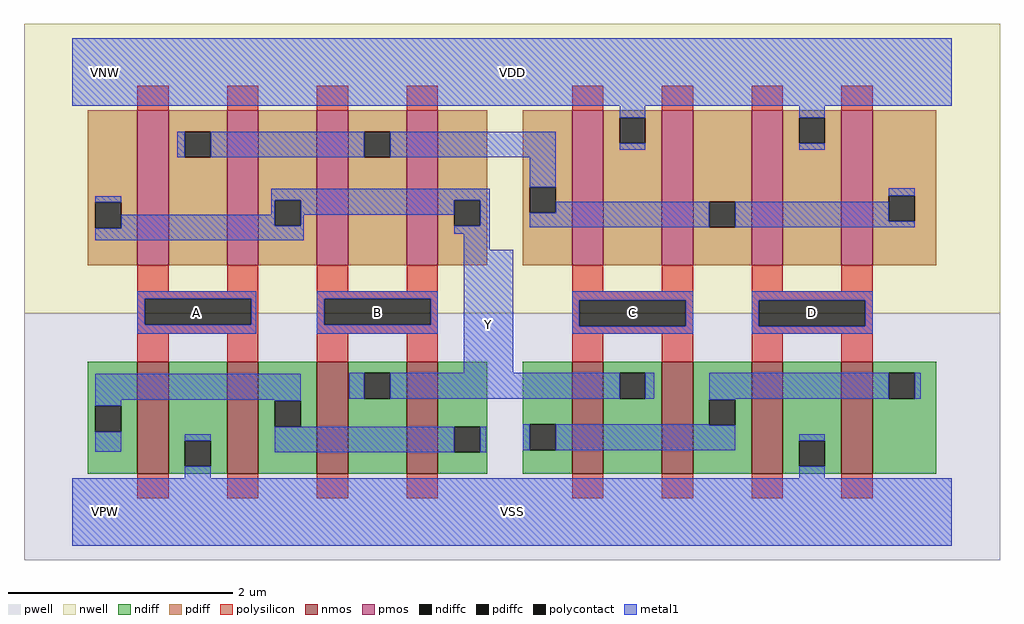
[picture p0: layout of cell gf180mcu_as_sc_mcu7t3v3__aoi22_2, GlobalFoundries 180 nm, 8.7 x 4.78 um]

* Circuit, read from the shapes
.subckt gf180mcu_as_sc_mcu7t3v3__aoi22_2 VDD VNW VPW VSS Y A B C D
XM1 VSS A n1 VPW nfet_03v3 w=1u l=0.28u m=2
XM2 Y B n1 VPW nfet_03v3 w=1u l=0.28u m=2
XM3 Y C n2 VPW nfet_03v3 w=1u l=0.28u m=2
XM4 VSS D n2 VPW nfet_03v3 w=1u l=0.28u m=2
XM5 n3 A Y VNW pfet_03v3 w=1.38u l=0.28u m=2
XM6 n3 B Y VNW pfet_03v3 w=1.38u l=0.28u m=2
XM7 VDD C n3 VNW pfet_03v3 w=1.38u l=0.28u m=2
XM8 VDD D n3 VNW pfet_03v3 w=1.38u l=0.28u m=2
.ends

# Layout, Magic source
magic
tech gf180mcuD
magscale 1 10
<< nwell >>
rect -86 354 1654 870
<< pwell >>
rect -86 -86 1654 354
<< nmos >>
rect 116 68 172 268
rect 276 68 332 268
rect 436 68 492 268
rect 596 68 652 268
rect 891 68 947 268
rect 1051 68 1107 268
rect 1211 68 1267 268
rect 1371 68 1427 268
<< pmos >>
rect 116 440 172 716
rect 276 440 332 716
rect 436 440 492 716
rect 596 440 652 716
rect 891 440 947 716
rect 1051 440 1107 716
rect 1211 440 1267 716
rect 1371 440 1427 716
<< ndiff >>
rect 28 189 116 268
rect 28 143 41 189
rect 87 143 116 189
rect 28 68 116 143
rect 172 127 276 268
rect 172 81 201 127
rect 247 81 276 127
rect 172 68 276 81
rect 332 198 436 268
rect 332 152 361 198
rect 407 152 436 198
rect 332 68 436 152
rect 492 248 596 268
rect 492 202 521 248
rect 567 202 596 248
rect 492 68 596 202
rect 652 152 740 268
rect 652 106 681 152
rect 727 106 740 152
rect 652 68 740 106
rect 803 156 891 268
rect 803 110 816 156
rect 862 110 891 156
rect 803 68 891 110
rect 947 248 1051 268
rect 947 202 976 248
rect 1022 202 1051 248
rect 947 68 1051 202
rect 1107 200 1211 268
rect 1107 154 1136 200
rect 1182 154 1211 200
rect 1107 68 1211 154
rect 1267 127 1371 268
rect 1267 81 1296 127
rect 1342 81 1371 127
rect 1267 68 1371 81
rect 1427 248 1540 268
rect 1427 202 1456 248
rect 1502 202 1540 248
rect 1427 68 1540 202
<< pdiff >>
rect 28 552 116 716
rect 28 506 41 552
rect 87 506 116 552
rect 28 440 116 506
rect 172 678 276 716
rect 172 632 201 678
rect 247 632 276 678
rect 172 440 276 632
rect 332 556 436 716
rect 332 510 361 556
rect 407 510 436 556
rect 332 440 436 510
rect 492 678 596 716
rect 492 632 521 678
rect 567 632 596 678
rect 492 440 596 632
rect 652 556 740 716
rect 652 510 681 556
rect 727 510 740 556
rect 652 440 740 510
rect 803 579 891 716
rect 803 533 816 579
rect 862 533 891 579
rect 803 440 891 533
rect 947 703 1051 716
rect 947 657 976 703
rect 1022 657 1051 703
rect 947 440 1051 657
rect 1107 553 1211 716
rect 1107 507 1136 553
rect 1182 507 1211 553
rect 1107 440 1211 507
rect 1267 703 1371 716
rect 1267 657 1296 703
rect 1342 657 1371 703
rect 1267 440 1371 657
rect 1427 564 1540 716
rect 1427 518 1456 564
rect 1502 518 1540 564
rect 1427 440 1540 518
<< ndiffc >>
rect 41 143 87 189
rect 201 81 247 127
rect 361 152 407 198
rect 521 202 567 248
rect 681 106 727 152
rect 816 110 862 156
rect 976 202 1022 248
rect 1136 154 1182 200
rect 1296 81 1342 127
rect 1456 202 1502 248
<< pdiffc >>
rect 41 506 87 552
rect 201 632 247 678
rect 361 510 407 556
rect 521 632 567 678
rect 681 510 727 556
rect 816 533 862 579
rect 976 657 1022 703
rect 1136 507 1182 553
rect 1296 657 1342 703
rect 1456 518 1502 564
<< polysilicon >>
rect 116 716 172 760
rect 276 716 332 760
rect 436 716 492 760
rect 596 716 652 760
rect 891 716 947 760
rect 1051 716 1107 760
rect 1211 716 1267 760
rect 1371 716 1427 760
rect 116 393 172 440
rect 276 393 332 440
rect 116 380 332 393
rect 116 334 129 380
rect 319 334 332 380
rect 116 318 332 334
rect 116 268 172 318
rect 276 268 332 318
rect 436 393 492 440
rect 596 393 652 440
rect 436 380 652 393
rect 436 334 449 380
rect 639 334 652 380
rect 436 318 652 334
rect 436 268 492 318
rect 596 268 652 318
rect 891 393 947 440
rect 1051 393 1107 440
rect 891 377 1107 393
rect 891 331 904 377
rect 1094 331 1107 377
rect 891 318 1107 331
rect 891 268 947 318
rect 1051 268 1107 318
rect 1211 393 1267 440
rect 1371 393 1427 440
rect 1211 377 1427 393
rect 1211 331 1224 377
rect 1414 331 1427 377
rect 1211 318 1427 331
rect 1211 268 1267 318
rect 1371 268 1427 318
rect 116 24 172 68
rect 276 24 332 68
rect 436 24 492 68
rect 596 24 652 68
rect 891 24 947 68
rect 1051 24 1107 68
rect 1211 24 1267 68
rect 1371 24 1427 68
<< polycontact >>
rect 129 334 319 380
rect 449 334 639 380
rect 904 331 1094 377
rect 1224 331 1414 377
<< metal1 >>
rect 0 724 1568 844
rect 976 703 1022 724
rect 187 632 201 678
rect 247 632 521 678
rect 567 632 862 678
rect 976 646 1022 657
rect 1296 703 1342 724
rect 1296 646 1342 657
rect 816 579 862 632
rect 41 552 87 563
rect 355 556 744 576
rect 355 530 361 556
rect 87 510 361 530
rect 407 530 681 556
rect 407 510 413 530
rect 87 506 413 510
rect 41 484 413 506
rect 727 510 744 556
rect 681 496 744 510
rect 1456 564 1502 577
rect 862 533 1136 553
rect 816 507 1136 533
rect 1182 518 1456 553
rect 1182 507 1502 518
rect 698 467 744 496
rect 116 380 328 393
rect 116 334 129 380
rect 319 334 328 380
rect 116 318 328 334
rect 436 380 652 393
rect 436 334 449 380
rect 639 334 652 380
rect 436 318 652 334
rect 698 248 786 467
rect 891 377 1107 393
rect 891 331 904 377
rect 1094 331 1107 377
rect 891 318 1107 331
rect 1211 377 1427 393
rect 1211 331 1224 377
rect 1414 331 1427 377
rect 1211 318 1427 331
rect 41 200 407 246
rect 494 202 521 248
rect 567 202 976 248
rect 1022 202 1038 248
rect 1136 202 1456 248
rect 1502 202 1513 248
rect 41 189 87 200
rect 41 107 87 143
rect 361 198 407 200
rect 1136 200 1182 202
rect 201 127 247 138
rect 361 106 681 152
rect 727 106 738 152
rect 803 110 816 156
rect 862 154 1136 156
rect 862 110 1182 154
rect 1296 127 1342 138
rect 201 60 247 81
rect 1296 60 1342 81
rect 0 -60 1568 60
<< labels >>
flabel metal1 s 0 724 1568 844 0 FreeSans 400 0 0 0 VDD
port 1 nsew power bidirectional abutment
flabel metal1 s 0 -60 1568 60 0 FreeSans 400 0 0 0 VSS
port 4 nsew ground bidirectional abutment
flabel nwell s 10 734 110 834 0 FreeSans 400 0 0 0 VNW
port 2 nsew power bidirectional
flabel pwell s 10 -50 110 50 0 FreeSans 400 0 0 0 VPW
port 3 nsew ground bidirectional
flabel metal1 698 202 786 467 0 FreeSans 200 0 0 0 Y
port 5 nsew signal output
flabel metal1 116 318 328 393 0 FreeSans 200 0 0 0 A
port 6 nsew signal input
flabel metal1 436 318 652 393 0 FreeSans 200 0 0 0 B
port 7 nsew signal input
flabel metal1 891 318 1107 393 0 FreeSans 200 0 0 0 C
port 8 nsew signal input
flabel metal1 1211 318 1427 393 0 FreeSans 200 0 0 0 D
port 9 nsew signal input
<< properties >>
string FIXED_BBOX 0 0 1568 784
string LEFclass CORE
string LEFsite unithd
string LEFsymmetry X Y
string MASKHINTS_NPLUS -16 -46 1584 354
string MASKHINTS_PPLUS -16 354 1584 830
<< end >>
